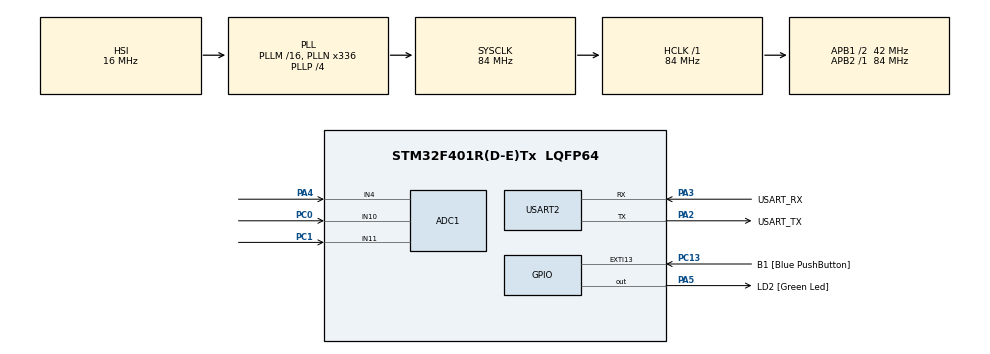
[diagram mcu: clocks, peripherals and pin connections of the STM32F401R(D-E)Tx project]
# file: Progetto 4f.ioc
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ADC1.Channel-0\#ChannelRegularConversion=ADC_CHANNEL_10
ADC1.Channel-1\#ChannelRegularConversion=ADC_CHANNEL_4
ADC1.Channel-2\#ChannelRegularConversion=ADC_CHANNEL_11
ADC1.ContinuousConvMode=ENABLE
ADC1.DMAContinuousRequests=ENABLE
ADC1.NbrOfConversion=3
ADC1.NbrOfConversionFlag=1
ADC1.Rank-0\#ChannelRegularConversion=1
ADC1.Rank-1\#ChannelRegularConversion=2
ADC1.Rank-2\#ChannelRegularConversion=3
ADC1.SamplingTime-0\#ChannelRegularConversion=ADC_SAMPLETIME_480CYCLES
ADC1.SamplingTime-1\#ChannelRegularConversion=ADC_SAMPLETIME_480CYCLES
ADC1.SamplingTime-2\#ChannelRegularConversion=ADC_SAMPLETIME_480CYCLES
ADC1.ScanConvMode=ENABLE
ADC1.master=1
Dma.ADC1.0.Direction=DMA_PERIPH_TO_MEMORY
Dma.ADC1.0.FIFOMode=DMA_FIFOMODE_DISABLE
Dma.ADC1.0.Instance=DMA2_Stream0
Dma.ADC1.0.MemDataAlignment=DMA_MDATAALIGN_WORD
Dma.ADC1.0.MemInc=DMA_MINC_ENABLE
Dma.ADC1.0.Mode=DMA_CIRCULAR
Dma.ADC1.0.PeriphDataAlignment=DMA_PDATAALIGN_WORD
Dma.ADC1.0.PeriphInc=DMA_PINC_DISABLE
Dma.ADC1.0.Priority=DMA_PRIORITY_LOW
Dma.Request0=ADC1
Mcu.Family=STM32F4
Mcu.Name=STM32F401R(D-E)Tx
Mcu.Package=LQFP64
NVIC.ADC_IRQn=true\:0\:0\:false\:false\:true\:true\:true\:true
NVIC.DMA2_Stream0_IRQn=true\:0\:0\:false\:false\:true\:false\:true\:true
NVIC.PriorityGroup=NVIC_PRIORITYGROUP_4
PA13.GPIO_Label=TMS
PA13.Mode=Trace_Asynchronous_SW
PA13.Signal=SYS_JTMS-SWDIO
PA14.GPIO_Label=TCK
PA14.Mode=Trace_Asynchronous_SW
PA14.Signal=SYS_JTCK-SWCLK
PA2.GPIO_Label=USART_TX
PA2.GPIO_Mode=GPIO_MODE_AF_PP
PA2.GPIO_PuPd=GPIO_NOPULL
PA2.GPIO_Speed=GPIO_SPEED_FREQ_LOW
PA2.Mode=Asynchronous
PA2.Signal=USART2_TX
PA3.GPIO_Label=USART_RX
PA3.GPIO_Mode=GPIO_MODE_AF_PP
PA3.GPIO_PuPd=GPIO_NOPULL
PA3.GPIO_Speed=GPIO_SPEED_FREQ_LOW
PA3.Mode=Asynchronous
PA3.Signal=USART2_RX
PA4.Signal=ADCx_IN4
PA5.GPIO_Label=LD2 [Green Led]
PA5.GPIO_Mode=GPIO_MODE_OUTPUT_PP
PA5.GPIO_PuPd=GPIO_NOPULL
PA5.GPIO_Speed=GPIO_SPEED_FREQ_LOW
PA5.Signal=GPIO_Output
PB3.GPIO_Label=SWO
PB3.Mode=Trace_Asynchronous_SW
PB3.Signal=SYS_JTDO-SWO
PC0.Signal=ADCx_IN10
PC1.Signal=ADCx_IN11
PC13-ANTI_TAMP.GPIO_Label=B1 [Blue PushButton]
PC13-ANTI_TAMP.GPIO_ModeDefaultEXTI=GPIO_MODE_IT_FALLING
PC13-ANTI_TAMP.GPIO_PuPd=GPIO_NOPULL
PC13-ANTI_TAMP.Signal=GPXTI13
PC14-OSC32_IN.Mode=LSE-External-Oscillator
PC14-OSC32_IN.Signal=RCC_OSC32_IN
PC15-OSC32_OUT.Mode=LSE-External-Oscillator
PC15-OSC32_OUT.Signal=RCC_OSC32_OUT
PH0\ -\ OSC_IN.Mode=HSE-External-Clock-Source
PH0\ -\ OSC_IN.Signal=RCC_OSC_IN
PH1\ -\ OSC_OUT.Mode=HSE-External-Clock-Source
PH1\ -\ OSC_OUT.Signal=RCC_OSC_OUT
ProjectManager.HeapSize=0x200
ProjectManager.StackSize=0x400
ProjectManager.TargetToolchain=STM32CubeIDE
RCC.48MHZClocksFreq_Value=48000000
RCC.AHBFreq_Value=84000000
RCC.APB1CLKDivider=RCC_HCLK_DIV2
RCC.APB1Freq_Value=42000000
RCC.APB1TimFreq_Value=84000000
RCC.APB2Freq_Value=84000000
RCC.APB2TimFreq_Value=84000000
RCC.CortexFreq_Value=84000000
RCC.HCLKFreq_Value=84000000
RCC.HSE_VALUE=8000000
RCC.HSI_VALUE=16000000
RCC.PLLN=336
RCC.PLLP=RCC_PLLP_DIV4
RCC.PLLQ=7
RCC.SYSCLKFreq_VALUE=84000000
RCC.SYSCLKSource=RCC_SYSCLKSOURCE_PLLCLK
RCC.VCOOutputFreq_Value=336000000
SH.ADCx_IN10.0=ADC1_IN10,IN10
SH.ADCx_IN11.0=ADC1_IN11,IN11
SH.ADCx_IN4.0=ADC1_IN4,IN4
USART2.VirtualMode=VM_ASYNC
board=NUCLEO-F401RE

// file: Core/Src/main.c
/* USER CODE BEGIN Header */
/**
  ******************************************************************************
  * @file           : main.c
  * @brief          : Main program body
  ******************************************************************************
  * @attention
  *
  * Copyright (c) 2025 STMicroelectronics.
  * All rights reserved.
  *
  * This software is licensed under terms that can be found in the LICENSE file
  * in the root directory of this software component.
  * If no LICENSE file comes with this software, it is provided AS-IS.
  *
  ******************************************************************************
  */
/* USER CODE END Header */
#include "main.h"
/* USER CODE BEGIN Includes */
#include <stdio.h>
#include "stm32f4xx_hal.h"
/* USER CODE END Includes */

ADC_HandleTypeDef hadc1;
DMA_HandleTypeDef hdma_adc1;

UART_HandleTypeDef huart2;

void SystemClock_Config(void);
static void MX_GPIO_Init(void);
static void MX_DMA_Init(void);
static void MX_USART2_UART_Init(void);
static void MX_ADC1_Init(void);

/* USER CODE BEGIN 0 */

#define ADC_BUFFER_LENGTH 102
#define UART_BUFFER_SIZE 300
char UART_Buffer[UART_BUFFER_SIZE+1];
uint32_t ADCBuffer[ADC_BUFFER_LENGTH];
uint32_t value1;
uint32_t value2;
uint32_t value3;

void HAL_ADC_ConvCpltCallback(ADC_HandleTypeDef* hadc)
{
	if(hadc==&hadc1)
	{
		int i=0;
		value1=0;
        value2=0;
        value3=0;
        while(i<=ADC_BUFFER_LENGTH-3)
        {
           value1+=ADCBuffer[i];
           value2+=ADCBuffer[i+1];
           value3+=ADCBuffer[i+2];
           i+=3;
        }
        value1=value1/ADC_BUFFER_LENGTH/3;
        value2=value2/ADC_BUFFER_LENGTH/3;
        value3=value3/ADC_BUFFER_LENGTH/3;
	}
}

void UART_Tx_String(char*string)
{
	uint8_t index = 0;
	while((index<UART_BUFFER_SIZE)&&(string[index]!=0))
	{
		index+=1;
	}
	HAL_UART_Transmit(&huart2,(uint8_t*)string,index,5000);
}

/* USER CODE END 0 */

int main(void)
{

  /* MCU Configuration--------------------------------------------------------*/

  /* Reset of all peripherals, Initializes the Flash interface and the Systick. */
  HAL_Init();

  /* Configure the system clock */
  SystemClock_Config();

  /* Initialize all configured peripherals */
  MX_GPIO_Init();
  MX_DMA_Init();
  MX_USART2_UART_Init();
  MX_ADC1_Init();
  /* USER CODE BEGIN 2 */
  HAL_ADC_Start_DMA(&hadc1,ADCBuffer,ADC_BUFFER_LENGTH);
  /* USER CODE END 2 */

  /* Infinite loop */
  while (1)
  {

    /* USER CODE BEGIN 3 */
	  sprintf(UART_Buffer,"DMA ADC value1 = % 4lu , value2 = % 4lu . Value3 = % 4lu \r",value1,value2,value3);
	  UART_Tx_String(UART_Buffer);
	  HAL_Delay(100);
  }
  /* USER CODE END 3 */
}

void SystemClock_Config(void)
{
  RCC_OscInitTypeDef RCC_OscInitStruct = {0};
  RCC_ClkInitTypeDef RCC_ClkInitStruct = {0};

  /** Configure the main internal regulator output voltage
  */
  __HAL_RCC_PWR_CLK_ENABLE();
  __HAL_PWR_VOLTAGESCALING_CONFIG(PWR_REGULATOR_VOLTAGE_SCALE2);

  /** Initializes the RCC Oscillators according to the specified parameters
  * in the RCC_OscInitTypeDef structure.
  */
  RCC_OscInitStruct.OscillatorType = RCC_OSCILLATORTYPE_HSI;
  RCC_OscInitStruct.HSIState = RCC_HSI_ON;
  RCC_OscInitStruct.HSICalibrationValue = RCC_HSICALIBRATION_DEFAULT;
  RCC_OscInitStruct.PLL.PLLState = RCC_PLL_ON;
  RCC_OscInitStruct.PLL.PLLSource = RCC_PLLSOURCE_HSI;
  RCC_OscInitStruct.PLL.PLLM = 16;
  RCC_OscInitStruct.PLL.PLLN = 336;
  RCC_OscInitStruct.PLL.PLLP = RCC_PLLP_DIV4;
  RCC_OscInitStruct.PLL.PLLQ = 7;
  if (HAL_RCC_OscConfig(&RCC_OscInitStruct) != HAL_OK)
  {
    Error_Handler();
  }

  /** Initializes the CPU, AHB and APB buses clocks
  */
  RCC_ClkInitStruct.ClockType = RCC_CLOCKTYPE_HCLK|RCC_CLOCKTYPE_SYSCLK
                              |RCC_CLOCKTYPE_PCLK1|RCC_CLOCKTYPE_PCLK2;
  RCC_ClkInitStruct.SYSCLKSource = RCC_SYSCLKSOURCE_PLLCLK;
  RCC_ClkInitStruct.AHBCLKDivider = RCC_SYSCLK_DIV1;
  RCC_ClkInitStruct.APB1CLKDivider = RCC_HCLK_DIV2;
  RCC_ClkInitStruct.APB2CLKDivider = RCC_HCLK_DIV1;

  if (HAL_RCC_ClockConfig(&RCC_ClkInitStruct, FLASH_LATENCY_2) != HAL_OK)
  {
    Error_Handler();
  }
}

static void MX_ADC1_Init(void)
{

  ADC_ChannelConfTypeDef sConfig = {0};

  /** Configure the global features of the ADC (Clock, Resolution, Data Alignment and number of conversion)
  */
  hadc1.Instance = ADC1;
  hadc1.Init.ClockPrescaler = ADC_CLOCK_SYNC_PCLK_DIV4;
  hadc1.Init.Resolution = ADC_RESOLUTION_12B;
  hadc1.Init.ScanConvMode = ENABLE;
  hadc1.Init.ContinuousConvMode = ENABLE;
  hadc1.Init.DiscontinuousConvMode = DISABLE;
  hadc1.Init.ExternalTrigConvEdge = ADC_EXTERNALTRIGCONVEDGE_NONE;
  hadc1.Init.ExternalTrigConv = ADC_SOFTWARE_START;
  hadc1.Init.DataAlign = ADC_DATAALIGN_RIGHT;
  hadc1.Init.NbrOfConversion = 3;
  hadc1.Init.DMAContinuousRequests = ENABLE;
  hadc1.Init.EOCSelection = ADC_EOC_SINGLE_CONV;
  if (HAL_ADC_Init(&hadc1) != HAL_OK)
  {
    Error_Handler();
  }

  /** Configure for the selected ADC regular channel its corresponding rank in the sequencer and its sample time.
  */
  sConfig.Channel = ADC_CHANNEL_10;
  sConfig.Rank = 1;
  sConfig.SamplingTime = ADC_SAMPLETIME_480CYCLES;
  if (HAL_ADC_ConfigChannel(&hadc1, &sConfig) != HAL_OK)
  {
    Error_Handler();
  }

  /** Configure for the selected ADC regular channel its corresponding rank in the sequencer and its sample time.
  */
  sConfig.Channel = ADC_CHANNEL_4;
  sConfig.Rank = 2;
  if (HAL_ADC_ConfigChannel(&hadc1, &sConfig) != HAL_OK)
  {
    Error_Handler();
  }

  /** Configure for the selected ADC regular channel its corresponding rank in the sequencer and its sample time.
  */
  sConfig.Channel = ADC_CHANNEL_11;
  sConfig.Rank = 3;
  if (HAL_ADC_ConfigChannel(&hadc1, &sConfig) != HAL_OK)
  {
    Error_Handler();
  }

}

static void MX_USART2_UART_Init(void)
{

  huart2.Instance = USART2;
  huart2.Init.BaudRate = 115200;
  huart2.Init.WordLength = UART_WORDLENGTH_8B;
  huart2.Init.StopBits = UART_STOPBITS_1;
  huart2.Init.Parity = UART_PARITY_NONE;
  huart2.Init.Mode = UART_MODE_TX_RX;
  huart2.Init.HwFlowCtl = UART_HWCONTROL_NONE;
  huart2.Init.OverSampling = UART_OVERSAMPLING_16;
  if (HAL_UART_Init(&huart2) != HAL_OK)
  {
    Error_Handler();
  }

}

static void MX_DMA_Init(void)
{

  /* DMA controller clock enable */
  __HAL_RCC_DMA2_CLK_ENABLE();

  /* DMA interrupt init */
  /* DMA2_Stream0_IRQn interrupt configuration */
  HAL_NVIC_SetPriority(DMA2_Stream0_IRQn, 0, 0);
  HAL_NVIC_EnableIRQ(DMA2_Stream0_IRQn);

}

static void MX_GPIO_Init(void)
{
  GPIO_InitTypeDef GPIO_InitStruct = {0};

  /* GPIO Ports Clock Enable */
  __HAL_RCC_GPIOC_CLK_ENABLE();
  __HAL_RCC_GPIOH_CLK_ENABLE();
  __HAL_RCC_GPIOA_CLK_ENABLE();
  __HAL_RCC_GPIOB_CLK_ENABLE();

  /*Configure GPIO pin Output Level */
  HAL_GPIO_WritePin(LD2_GPIO_Port, LD2_Pin, GPIO_PIN_RESET);

  /*Configure GPIO pin : B1_Pin */
  GPIO_InitStruct.Pin = B1_Pin;
  GPIO_InitStruct.Mode = GPIO_MODE_IT_FALLING;
  GPIO_InitStruct.Pull = GPIO_NOPULL;
  HAL_GPIO_Init(B1_GPIO_Port, &GPIO_InitStruct);

  /*Configure GPIO pin : LD2_Pin */
  GPIO_InitStruct.Pin = LD2_Pin;
  GPIO_InitStruct.Mode = GPIO_MODE_OUTPUT_PP;
  GPIO_InitStruct.Pull = GPIO_NOPULL;
  GPIO_InitStruct.Speed = GPIO_SPEED_FREQ_LOW;
  HAL_GPIO_Init(LD2_GPIO_Port, &GPIO_InitStruct);

}

void Error_Handler(void)
{
  __disable_irq();
  while (1)
  {
  }
}
